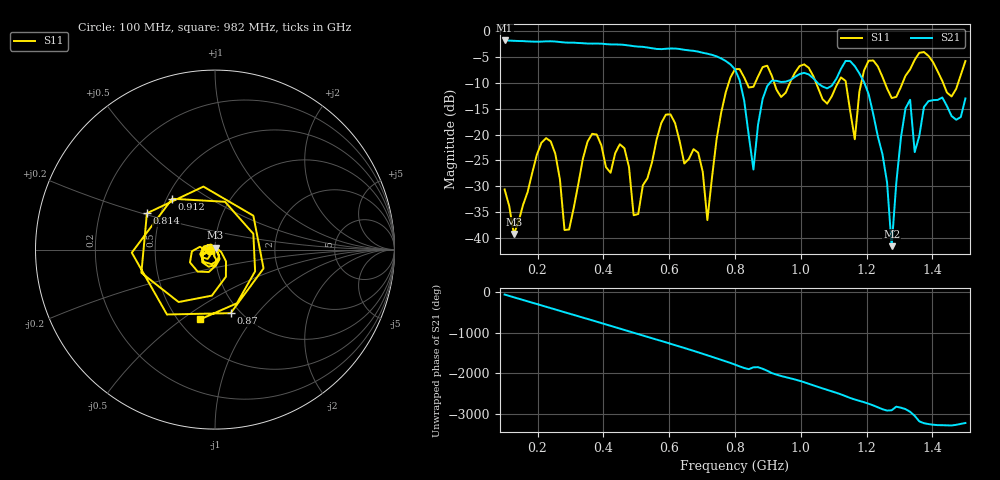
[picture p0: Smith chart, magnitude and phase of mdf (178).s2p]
! NanoVNA-App
! Date: 2025-09-26 09:41:07
! Start: 100MHz Stop: 1,5GHz Points: 101
! S-Parameter data: F S11 S21 S12 S22
# Hz S RI R 50
!  Frequency  S11_Real  S11_Imag  S21_Real  S21_Imag  S12_Real  S12_Imag  S22_Real  S22_Imag
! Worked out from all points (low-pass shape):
!   101 points, 100 MHz to 1.5 GHz, reference 50 ohm
!   highest |S21| = -1.79 dB at 100 MHz (marker M1); lowest = -41.6 dB at 1.276 GHz (marker M2)
!   |S21| within 3 dB of the highest: start of sweep to 740.5 MHz
!   lowest |S11| = -39.2 dB at 128 MHz (marker M3), VSWR 1.02, Z = 50.3 + j1.06 ohm
!   |S11| at or under -10 dB: start of sweep to 780.9 MHz; 1.046 GHz to 1.113 GHz (66.57 MHz wide, 6.17 % of centre); 1.255 GHz to 1.309 GHz (53.83 MHz wide, 4.2 % of centre) (the widest 3 of 7)
!   S12 and S22 are empty: the file has one direction only
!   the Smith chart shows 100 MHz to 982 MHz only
!   S11 on the Smith chart (normalised r, x): 100 MHz: 0.94, -0.01; 814 MHz: 0.42, +0.21; 870 MHz: 0.90, -0.74; 912 MHz: 0.53, +0.35; 982 MHz: 0.64, -0.59
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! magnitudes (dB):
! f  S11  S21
! 100 MHz  -30.6  -1.8
! 128 MHz  -39.2  -1.9
! 212 MHz  -21.6  -2.0
! 282 MHz  -38.5  -2.2
! 338 MHz  -24.6  -2.3
! 464 MHz  -22.6  -2.7
! 506 MHz  -35.4  -3.0
! 576 MHz  -17.8  -3.5
! 688 MHz  -23.5  -3.9
! 716 MHz  -36.5  -4.3
! 800 MHz  -7.3  -7.4
! 814 MHz  -7.3  -9.5
! 856 MHz  -10.7  -26.8
! 870 MHz  -8.8  -18.1
! 912 MHz  -8.6  -9.6
! 982 MHz  -8.0  -8.8
! 1.038 GHz  -8.7  -9.1
! 1.164 GHz  -20.9  -6.8
! 1.192 GHz  -7.6  -9.8
! 1.276 GHz  -12.9  -41.6
! 1.318 GHz  -8.6  -14.9
! 1.5 GHz  -5.8  -13.0
